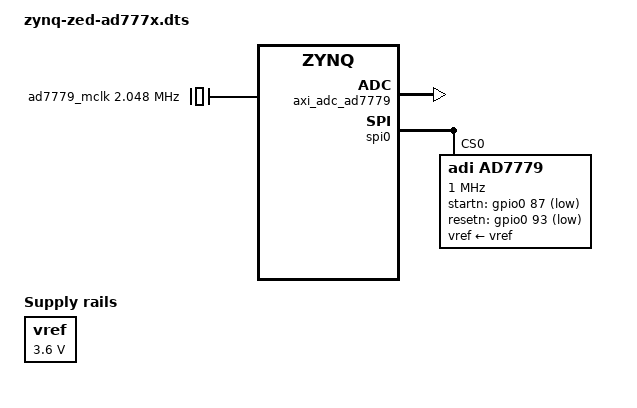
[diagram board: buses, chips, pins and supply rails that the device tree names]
// SPDX-License-Identifier: GPL-2.0
/*
 * Analog Devices AD7779
 *
 * hdl_project: <ad7779evb/zed>
 * board_revision: <>
 *
 * Copyright (C) 2022 Analog Devices Inc.
 */
/dts-v1/;

#include "zynq-zed.dtsi"
#include "zynq-zed-adv7511.dtsi"
#include <dt-bindings/gpio/gpio.h>

/ {
	vref: regulator-vref {
		compatible = "regulator-fixed";
		regulator-name = "fixed-supply";
		regulator-min-microvolt = <3600000>;
		regulator-max-microvolt = <3600000>;
		regulator-always-on;
	};

	clocks {
		ad7779_mclk: clock@0 {
			#clock-cells = <0>;
			compatible = "fixed-clock";
			clock-frequency = <2048000>;
		};
	};
};

&fpga_axi {
	rx_dma: rx-dmac@0x7c480000 {
		compatible = "adi,axi-dmac-1.00.a";
		reg = <0x7c480000 0x10000>;
		#dma-cells = <1>;
		interrupts = <0 54 IRQ_TYPE_LEVEL_HIGH>;
		clocks = <&clkc 16>;

		adi,channels {
			#size-cells = <0>;
			#address-cells = <1>;

			dma-channel@0 {
				reg = <0>;
				adi,source-bus-width = <256>;
				adi,source-bus-type = <2>;
				adi,destination-bus-width = <64>;
				adi,destination-bus-type = <0>;
			};
		};
	};

	axi_adc_ad7779: cf_axi_ad777x@43c00000 {
		compatible = "adi,axi-adc-10.0.a";
		reg = <0x43c00000 0x10000>;
		dmas = <&rx_dma 0>;
		dma-names = "rx";
		spibus-connected = <&ad7779>;
	};
};

&spi0 {
	status = "okay";

	ad7779: adc@0 {
		compatible = "adi,ad7779";
		reg = <0>;
		spi-max-frequency = <1000000>;

		vref-supply = <&vref>;
		
		startn-gpios = <&gpio0 87 GPIO_ACTIVE_LOW>;
		resetn-gpios = <&gpio0 93 GPIO_ACTIVE_LOW>;

		clocks = <&ad7779_mclk>;
		clock-names = "mclk";
	};
};
